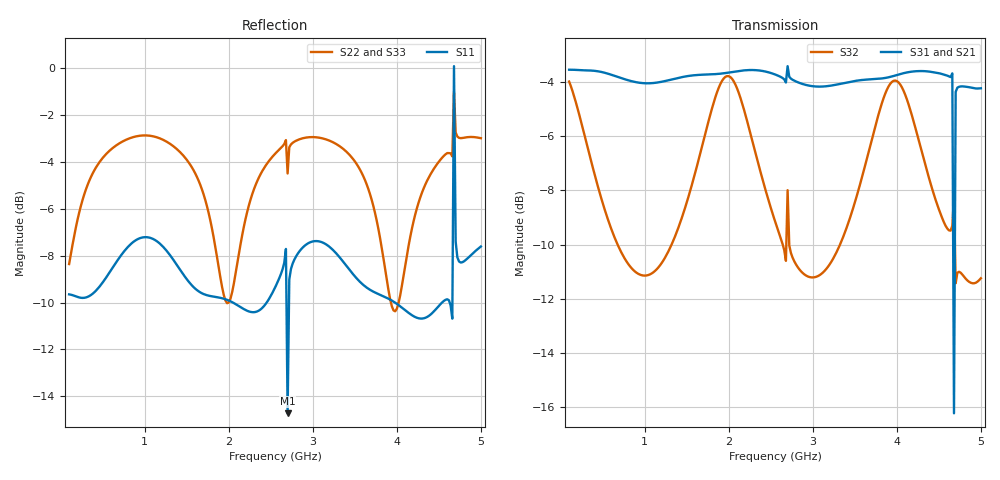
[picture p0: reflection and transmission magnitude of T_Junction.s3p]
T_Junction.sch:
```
<Qucs Schematic 25.1.2>
<Properties>
  <View=-296,-133,1805,1114,0.710075,323,61>
  <Grid=10,10,1>
  <DataSet=T_Junction.dat>
  <DataDisplay=T_Junction.dpl>
  <OpenDisplay=0>
  <Script=T_Junction.m>
  <RunScript=0>
  <showFrame=0>
  <FrameText0=Title>
  <FrameText1=Drawn By:>
  <FrameText2=Date:>
  <FrameText3=Revision:>
</Properties>
<Symbol>
</Symbol>
<Components>
  <Pac P1 1 120 230 18 -26 0 1 "1" 1 "50 Ohm" 1 "0 dBm" 0 "1 GHz" 0 "26.85" 0 "true" 0>
  <GND * 1 120 260 0 0 0 0>
  <GND * 1 790 110 0 0 0 0>
  <GND * 1 790 390 0 0 0 0>
  <Eqn Eqn1 1 210 520 -28 15 0 0 "S11_dB=dB(S[1,1])" 1 "S21_dB=dB(S[2,1])" 1 "S31_dB=dB(S[3,1])" 1 "S22_dB=dB(S[2,2])" 1 "S33_dB=dB(S[3,3])" 1 "yes" 0>
  <SUBST Sub1 1 560 520 -30 24 0 0 "3.55" 1 "0.508mm" 1 "12.5um" 1 "0.0125" 1 "2.43902e-08" 1 "1.5e-07" 1>
  <MLIN MS1 1 240 200 -26 20 0 0 "Sub1" 0 "1.13 mm" 1 "45.0 mm" 1 "Hammerstad" 0 "Kirschning" 0 "26.85" 0>
  <MLIN MS2 1 510 50 -26 20 0 0 "Sub1" 0 "272 um" 1 "47.3 mm" 1 "Hammerstad" 0 "Kirschning" 0 "26.85" 0>
  <MLIN MS3 1 510 330 -26 20 0 0 "Sub1" 0 "272 um" 1 "47.3 mm" 1 "Hammerstad" 0 "Kirschning" 0 "26.85" 0>
  <MTEE MS4 1 350 200 34 -45 0 3 "Sub1" 0 "272 um" 1 "272 um" 1 "1.13 m" 1 "Hammerstad" 0 "Kirschning" 0 "26.85" 0 "showNumbers" 0>
  <.SP SP1 1 340 490 0 60 0 0 "lin" 1 "0.5GHz" 1 "2.5GHz" 1 "300" 1 "no" 0 "1" 0 "2" 0 "no" 0 "no" 0>
  <SUBST Sub2 1 1050 550 -30 24 0 0 "3.55" 1 "0.508mm" 1 "12.5um" 1 "0.0125" 1 "2.43902e-08" 1 "0" 1>
  <MLIN MS5 1 650 50 -26 20 0 0 "Sub1" 0 "0.61 mm" 1 "46 mm" 1 "Hammerstad" 0 "Kirschning" 0 "26.85" 0>
  <MLIN MS6 1 650 330 -26 20 0 0 "Sub1" 0 "0.61 mm" 1 "46 mm" 1 "Hammerstad" 0 "Kirschning" 0 "26.85" 0>
  <Pac P2 1 790 80 18 -26 0 1 "2" 1 "50 Ohm" 1 "0 dBm" 0 "1 GHz" 0 "26.85" 0 "true" 0>
  <Pac P3 1 790 360 18 -26 0 1 "3" 1 "50 Ohm" 1 "0 dBm" 0 "1 GHz" 0 "26.85" 0 "true" 0>
</Components>
<Wires>
  <120 200 210 200 "" 0 0 0 "">
  <270 200 320 200 "" 0 0 0 "">
  <540 330 620 330 "" 0 0 0 "">
  <540 50 620 50 "" 0 0 0 "">
  <350 50 350 170 "" 0 0 0 "">
  <350 50 480 50 "" 0 0 0 "">
  <350 230 350 330 "" 0 0 0 "">
  <350 330 480 330 "" 0 0 0 "">
  <680 50 790 50 "" 0 0 0 "">
  <680 330 790 330 "" 0 0 0 "">
</Wires>
<Diagrams>
  <Rect 1000 290 240 160 3 #c0c0c0 1 00 1 0 0.2 1 1 -0.1 0.5 1.1 1 -0.1 0.5 1.1 315 0 225 1 0 0 "" "" "">
	<"S21_dB" #0000ff 1 3 0 0 0>
	<"S11_dB" #ff0000 1 3 0 0 0>
	<"S22_dB" #ff00ff 1 3 0 0 0>
  </Rect>
</Diagrams>
<Paintings>
</Paintings>
```
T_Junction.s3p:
! Sonnet Data File
! From: sonnet Version : 18.53-Lite
! From Emgraph Data:
! Data File Written: 07/02/2025 05:58:26
!< HDATE 07/02/2025 05:53:16
!< MDATE 07/02/2025 05:53:16
!< PARAMS
!< W_50 = 1.13
!< L0 = 45.0
!< W_100 = 0.272
!< L1 = 47.3
!< END PARAMS
# GHZ S MA R 50.00000
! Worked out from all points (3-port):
!   246 points, 100 MHz to 5 GHz, reference 50 ohm
!   strongest paths, dB at 100 MHz, 1.32 GHz, 2.56 GHz, 3.78 GHz, 5 GHz:
!     S31: -3.5, -3.9, -3.7, -3.9, -4.2
!     S21: -3.5, -3.9, -3.8, -3.7, -4.2
!     S32: -4.0, -10.0, -9.2, -5.2, -11.2
!   lowest |S11| = -14.7 dB at 2.7 GHz (marker M1), VSWR 1.45, Z = 60.1 - j17.8 ohm
!   |S11| at or under -10 dB: 2.05 GHz to 2.45 GHz (399.8 MHz wide, 17.8 % of centre); 3.979 GHz to 4.537 GHz (558.5 MHz wide, 13.1 % of centre); 4.629 GHz to 4.661 GHz (32.44 MHz wide, 0.698 % of centre)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
0.1  0.3293 142.3  0.6649 -18.3  0.6652 -18.2
     0.6649 -18.3  0.3822 125.1  0.6326 -29.0
     0.6652 -18.2  0.6326 -29.0  0.3817 125.2
1.54  0.3475 -3.8  0.6532 83.4  0.6484 84.1
      0.6532 83.4  0.6232 -44.5  0.3971 103.6
      0.6484 84.1  0.3971 103.6  0.6308 -44.0
2.7  0.1835 -51.3  0.6697 -115.5  0.6753 -114.8
     0.6697 -115.5  0.5964 19.8  0.3985 -148.5
     0.6753 -114.8  0.3985 -148.5  0.5898 21.1
4.04  0.3105 168.4  0.6453 -10.2  0.653 -6.1
      0.6453 -10.2  0.3279 139.3  0.6248 -20.3
      0.653 -6.1  0.6248 -20.3  0.3129 147.1
5  0.4166 172.1  0.6157 176.5  0.6147 177.6
   0.6157 176.5  0.7095 -2.4  0.274 173.9
   0.6147 177.6  0.274 173.9  0.7105 -0.2
